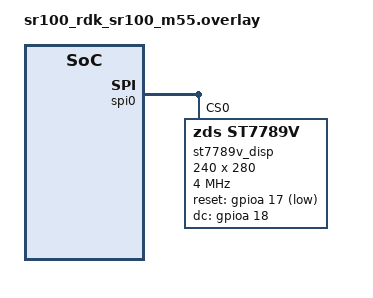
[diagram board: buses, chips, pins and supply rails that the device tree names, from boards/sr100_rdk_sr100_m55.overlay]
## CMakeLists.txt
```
cmake_minimum_required(VERSION 3.20.0)

# The custom "zds,st7789v" devicetree binding lives under this app's own
# dts/bindings/ -- DTS_ROOT must be extended BEFORE find_package(Zephyr...)
# runs, or the devicetree compiler won't find the binding and the build
# fails with "'zds,st7789v' compatible not found". Ported unchanged from
# jyounnim/zephyr_display-sr110's Lab 06 (06_TFT_ST7789V3), which
# hardware-verified this exact binding/driver approach on this board.
list(APPEND DTS_ROOT ${CMAKE_CURRENT_SOURCE_DIR})

find_package(Zephyr REQUIRED HINTS $ENV{ZEPHYR_BASE})
project(lab11_tft_sensor_display_host)

target_sources(app PRIVATE src/main.c)
target_include_directories(app PRIVATE include)
```

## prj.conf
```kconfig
CONFIG_MBOX=y
CONFIG_SPI=y
CONFIG_GPIO=y
# No CONFIG_DISPLAY / CONFIG_CHARACTER_FRAMEBUFFER / CONFIG_ST7789V here --
# this lab talks to the panel directly with raw spi_write_dt() calls (see
# src/main.c and the "zds,st7789v" custom binding), not Zephyr's in-tree
# Display/CFB subsystem. This also sidesteps the in-tree st7789v driver's
# devicetree "mipi-mode" property requirement entirely.

# st7789_fill_rect() keeps a one-row (240px * 2 bytes/px = 480 byte) stack
# buffer rather than a full-screen framebuffer; bump the main stack a bit
# to keep headroom alongside that plus the smaller per-character buffer in
# st7789_draw_char() and this lab's own mbox worker thread.
CONFIG_MAIN_STACK_SIZE=4096

# ns16550_uart1 (M55's only UART / console) is disabled in the devicetree
# overlay because its pins are reused for SPI0. The board defconfig's
# default UART_CONSOLE=y then fails its SERIAL_HAS_DRIVER dependency and
# aborts the Kconfig step, so it must be turned off explicitly here.
# (Explicitly setting CONFIG_SERIAL=n is NOT the fix -- this SoC's Kconfig
# unconditionally y-selects SERIAL_SUPPORT_ASYNC from SOC_SR100_M55,
# which then conflicts with SERIAL=n and aborts the build a different way.
# Leave CONFIG_SERIAL at its default; only the console symbols need
# turning off.)
CONFIG_UART_CONSOLE=n
CONFIG_CONSOLE=n
CONFIG_LOG=y
CONFIG_LOG_DEFAULT_LEVEL=3
CONFIG_PRINTK=y
```

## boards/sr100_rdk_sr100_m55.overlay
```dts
#include <zephyr/dt-bindings/gpio/gpio.h>

/* ipc0 shared-memory-size must match the M4 overlay in remote/boards/ exactly. */
&ipc0 {
	shared-memory-size = <0x400>;
};

/*
 * M4 and M55 physically share the same I2C1 bus (SCL/SDA pins) --
 * i2c1_ms_scl_b / i2c1_ms_sda_b are identical in both dts files. M4 is
 * the one driving the accelerometer in this lab, so i2c1 is disabled on
 * the M55 side to avoid a bus-init conflict at boot (same pattern applied
 * in every lab since Lab 01).
 */
&i2c1 {
	status = "disabled";
};

&gpio_exp0 {
	status = "disabled";
};

&ov02c10 {
	status = "disabled";
};

/*
 * ST7789V3 1.69" 240x280 color TFT on M55's SPI0.
 *
 * This is ported directly from `jyounnim/zephyr_display-sr110`'s Lab 06
 * (`06_TFT_ST7789V3`), which was already brought up and hardware-verified
 * standalone on this exact board -- see that lab's README/troubleshooting
 * doc for the full bring-up story. The devicetree side here (custom
 * "zds,st7789v" binding, pins, SPI frequency) is copied unchanged; only
 * the console handling differs (see the ns16550_uart1 note below), since
 * that lab is M55-only and this one runs M4 alongside it.
 *
 * NO Zephyr in-tree display driver is used -- see
 * lab/dts/bindings/display/zds,st7789v.yaml and src/main.c, which talk to
 * the panel with raw spi_write_dt() calls. This sidesteps the in-tree
 * "sitronix,st7789v" driver's newer required "mipi-mode" devicetree
 * property entirely (which this Zephyr version's binding demands but
 * earlier revisions of this overlay didn't have set, causing a
 * build failure).
 *
 * Write-only module (no MISO), but spi_mstr_miso is still routed in
 * pinctrl-0 for consistency with the confirmed-working zephyr_display-sr110
 * overlay. Native hardware CS (spi_mstr_cs pinctrl, no cs-gpios).
 *
 * IMPORTANT hardware conflict, confirmed from the schematic (J25 header):
 *   GPIO23 = SPI_MSTR_MOSI / UART1_TX  <-- M55's own console TX pin
 *   GPIO24 = SPI_MSTR_MISO / UART1_RX  <-- M55's own console RX pin
 * SPI0's MOSI/MISO pins are physically the same pads as M55's UART1
 * (ns16550_uart1, M55's console). Enabling SPI0 here therefore takes over
 * the console pins. The standalone zephyr_display-sr110 lab reroutes its
 * console to UART0's alternate pin group (uart0_tx_c/rx_c, GPIO44/45)
 * instead -- but in THIS curriculum M4 already owns UART0 as its own
 * console (see 00_course_overview), so M55 can't also claim it here.
 * ns16550_uart1 is disabled below and left with no working console at
 * all -- any status info M55 needs is rendered on the TFT instead (see
 * src/main.c).
 *
 * ⚠️ LEVEL SHIFTER REQUIRED: SR110's SPI0/GPIO pads are a 1.8V I/O
 * domain (confirmed against the SR110 RDK schematic, SC950-C01116-01
 * RevE). This ST7789V3 module's IOVCC is 3.3V (VIH = 0.7 x IOVCC =
 * 2.31V, which 1.8V doesn't reach) -- driving it directly produced a
 * persistent black screen with no SPI-level error in the original
 * bring-up. A bidirectional level shifter (confirmed working: TXS0108E)
 * on all five signals -- SCLK, MOSI, CS, RST, DC -- is required. Keep
 * spi-max-frequency conservative (4MHz here) if using a TXS0108E, since
 * it's an auto-direction-sensing shifter not really meant for a fast
 * continuously-toggling signal like SCLK; a dedicated unidirectional
 * buffer (74LVC245, 74AHCT125, etc.) is the more correct choice.
 */
&ns16550_uart1 {
	status = "disabled";
};

&spi0 {
	#address-cells = <1>;
	#size-cells = <0>;
	status = "okay";
	pinctrl-0 = <&spi_mstr_mosi &spi_mstr_miso &spi_mstr_clk &spi_mstr_cs>;
	pinctrl-names = "default";

	st7789v_disp: st7789v@0 {
		compatible = "zds,st7789v";
		reg = <0>;
		spi-max-frequency = <4000000>;
		reset-gpios = <&gpioa 17 GPIO_ACTIVE_LOW>;  /* SoC GPIO17, J24 pin 3 - through level shifter */
		dc-gpios = <&gpioa 18 GPIO_ACTIVE_HIGH>;    /* SoC GPIO18, J24 pin 4 - through level shifter */
		width = <240>;
		height = <280>;
		x-offset = <0>;
		y-offset = <20>;
	};
};
```

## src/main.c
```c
/*
 * Lab 11: TFT Sensor Display (HOST, M55)
 * Receives the X/Y/Z accelerometer values M4 samples from the onboard
 * MC3419 and renders them as text on an ST7789V3 1.69" 240x280 SPI TFT.
 *
 * The SPI0/driver/panel-geometry portion of this file is ported
 * unchanged from jyounnim/zephyr_display-sr110's Lab 06
 * (06_TFT_ST7789V3), which was already hardware-verified standalone on
 * this exact board (level shifter requirement, 8-byte SPI0 FIFO chunking,
 * full init sequence, panel RAM offset -- see that lab's doc/
 * troubleshooting notes for the full bring-up story). It talks to the
 * panel directly with raw spi_write_dt() calls rather than Zephyr's
 * in-tree Display/CFB subsystem -- see the "zds,st7789v" custom binding
 * in dts/bindings/display/.
 *
 * What's new in THIS file (on top of that confirmed base): the mbox
 * ISR -> k_msgq -> worker-thread pattern used by every lab in this IPC
 * curriculum (Display_Task is the worker), and a small font-table
 * extension (digits, ':', '-', and the specific uppercase letters used
 * below) so accelerometer values can be printed -- the original lab's
 * font5x7 table only covered the characters needed for "Hello World!".
 *
 * M55 drives this display over SPI0, which physically shares pins with
 * M55's own console UART (see the M55 overlay for the full explanation).
 * That means this build can't rely on its serial console for status info
 * -- the TFT itself is the only debug/status output available once this
 * overlay is flashed, so this main() puts a small status line (rx count)
 * on screen in addition to the sensor values.
 */

#include <zephyr/kernel.h>
#include <zephyr/device.h>
#include <zephyr/devicetree.h>
#include <zephyr/drivers/spi.h>
#include <zephyr/drivers/gpio.h>
#include <zephyr/drivers/mbox.h>
#include <zephyr/logging/log.h>
#include <zephyr/sys/util.h>
#include <stdbool.h>
#include <stdio.h>
#include <string.h>
#include "ipc_common.h"

LOG_MODULE_REGISTER(lab11_host, CONFIG_LOG_DEFAULT_LEVEL);

#define TASK_STACK_SIZE 2048
#define TASK_PRIORITY   4

K_THREAD_STACK_DEFINE(task_stack, TASK_STACK_SIZE);
static struct k_thread task_data;
K_MSGQ_DEFINE(accel_msgq, sizeof(struct ipc11_accel_msg), 4, 4);

#define DISP_NODE DT_NODELABEL(st7789v_disp)

#define PANEL_WIDTH   DT_PROP(DISP_NODE, width)
#define PANEL_HEIGHT  DT_PROP(DISP_NODE, height)
#define X_OFFSET      DT_PROP(DISP_NODE, x_offset)
#define Y_OFFSET      DT_PROP(DISP_NODE, y_offset)

/* ST7789 command set (only what this lab needs). */
#define ST7789_SWRESET   0x01
#define ST7789_SLPOUT    0x11
#define ST7789_COLMOD    0x3A
#define ST7789_MADCTL    0x36
#define ST7789_INVON     0x21
#define ST7789_NORON     0x13
#define ST7789_DISPON    0x29
#define ST7789_CASET     0x2A
#define ST7789_RASET     0x2B
#define ST7789_RAMWR     0x2C
#define ST7789_PORCTRL   0xB2
#define ST7789_GCTRL     0xB7
#define ST7789_VCOMS     0xBB
#define ST7789_LCMCTRL   0xC0
#define ST7789_VDVVRHEN  0xC2
#define ST7789_VRHS      0xC3
#define ST7789_VDVS      0xC4
#define ST7789_FRCTRL2   0xC6
#define ST7789_PWCTRL1   0xD0
#define ST7789_PVGAMCTRL 0xE0
#define ST7789_NVGAMCTRL 0xE1

/* RGB565 colors. */
#define COLOR_BLACK   0x0000
#define COLOR_WHITE   0xFFFF
#define COLOR_RED     0xF800
#define COLOR_GREEN   0x07E0
#define COLOR_YELLOW  0xFFE0

static const struct spi_dt_spec spi_spec =
	SPI_DT_SPEC_GET(DISP_NODE, SPI_WORD_SET(8) | SPI_TRANSFER_MSB, 0);
static const struct gpio_dt_spec reset_spec = GPIO_DT_SPEC_GET(DISP_NODE, reset_gpios);
static const struct gpio_dt_spec dc_spec = GPIO_DT_SPEC_GET(DISP_NODE, dc_gpios);

/*
 * 5x7 font table. The entries marked "(from Lab 06)" are copied verbatim
 * from the confirmed zephyr_display-sr110 source. Everything else (digits,
 * ':', '-', and the extra uppercase letters used in this lab's on-screen
 * labels) is a NEW addition, taken from the classic public-domain 5x7
 * "glcdfont" table used throughout the Arduino/Adafruit-GFX ecosystem --
 * it has not been individually re-verified against this specific panel,
 * so if a character looks wrong on real hardware, that's the first place
 * to check.
 */
struct glyph {
	char ch;
	uint8_t cols[5];
};

static const struct glyph font5x7[] = {
	{' ', {0x00, 0x00, 0x00, 0x00, 0x00}}, /* (from Lab 06) */
	{'-', {0x08, 0x08, 0x08, 0x08, 0x08}},
	{':', {0x00, 0x36, 0x36, 0x00, 0x00}},
	{'0', {0x3E, 0x51, 0x49, 0x45, 0x3E}},
	{'1', {0x00, 0x42, 0x7F, 0x40, 0x00}},
	{'2', {0x62, 0x51, 0x49, 0x49, 0x46}},
	{'3', {0x22, 0x41, 0x49, 0x49, 0x36}},
	{'4', {0x18, 0x14, 0x12, 0x7F, 0x10}},
	{'5', {0x27, 0x45, 0x45, 0x45, 0x39}},
	{'6', {0x3C, 0x4A, 0x49, 0x49, 0x30}},
	{'7', {0x01, 0x71, 0x09, 0x05, 0x03}},
	{'8', {0x36, 0x49, 0x49, 0x49, 0x36}},
	{'9', {0x06, 0x49, 0x49, 0x29, 0x1E}},
	{'A', {0x7E, 0x11, 0x11, 0x11, 0x7E}},
	{'B', {0x7F, 0x49, 0x49, 0x49, 0x36}},
	{'C', {0x3E, 0x41, 0x41, 0x41, 0x22}},
	{'E', {0x7F, 0x49, 0x49, 0x49, 0x41}},
	{'L', {0x7F, 0x40, 0x40, 0x40, 0x40}},
	{'Q', {0x3E, 0x41, 0x51, 0x21, 0x5E}},
	{'R', {0x7F, 0x09, 0x19, 0x29, 0x46}},
	{'S', {0x46, 0x49, 0x49, 0x49, 0x31}},
	{'V', {0x1F, 0x20, 0x40, 0x20, 0x1F}},
	{'X', {0x63, 0x14, 0x08, 0x14, 0x63}},
	{'Y', {0x07, 0x08, 0x70, 0x08, 0x07}},
	{'Z', {0x61, 0x51, 0x49, 0x45, 0x43}},
};

static const uint8_t *glyph_lookup(char c)
{
	static const uint8_t blank[5] = {0x00, 0x00, 0x00, 0x00, 0x00};

	for (size_t i = 0; i < ARRAY_SIZE(font5x7); i++) {
		if (font5x7[i].ch == c) {
			return font5x7[i].cols;
		}
	}
	return blank;
}

/* SR110: SPI0's hardware FIFO is only 8 bytes deep (fifo-depth = <8>; in
 * sr100_m55.dtsi). A single spi_write_dt() call needing a mid-transfer
 * TX-FIFO-refill interrupt to complete (any single call over 8 bytes)
 * reproducibly times out (-ETIMEDOUT) instead of that refill interrupt
 * ever firing -- confirmed in Lab 06's bring-up. Every send below is
 * chunked to <= 8 bytes to avoid ever needing that refill.
 */
#define ST7789_CHUNK_BYTES 8

static int st7789_send(int dc_value, const uint8_t *data, size_t len)
{
	int ret;

	gpio_pin_set_dt(&dc_spec, dc_value);

	while (len) {
		size_t chunk = MIN(len, ST7789_CHUNK_BYTES);
		struct spi_buf buf = { .buf = (void *)data, .len = chunk };
		struct spi_buf_set set = { .buffers = &buf, .count = 1 };

		ret = spi_write_dt(&spi_spec, &set);
		if (ret) {
			LOG_ERR("spi_write_dt(dc=%d, len=%zu) failed, ret=%d", dc_value, chunk, ret);
			return ret;
		}
		data += chunk;
		len -= chunk;
	}

	return 0;
}

static int st7789_write_cmd(uint8_t cmd)
{
	return st7789_send(0, &cmd, 1);
}

static int st7789_write_data(const uint8_t *data, size_t len)
{
	return st7789_send(1, data, len);
}

static int st7789_reset(void)
{
	int ret = gpio_pin_configure_dt(&reset_spec, GPIO_OUTPUT_INACTIVE);

	if (ret) {
		return ret;
	}
	k_sleep(K_MSEC(10));
	gpio_pin_set_dt(&reset_spec, 1); /* assert reset */
	k_sleep(K_MSEC(10));
	gpio_pin_set_dt(&reset_spec, 0); /* release reset */
	k_sleep(K_MSEC(150));            /* datasheet: allow up to ~120ms to recover */

	return 0;
}

/* Full power/frame-rate/gamma init sequence (not the bare MIPI-DCS
 * minimum) -- confirmed necessary on this exact panel/SPI0 setup in
 * Lab 06's bring-up (the bare minimum completed with no SPI error but
 * never produced a visible image). Cross-checked there against ESPHome's
 * st7789v component, Bodmer's TFT_eSPI library, and Adafruit's Raspberry
 * Pi fbtft driver, which all agree on this sequence/these values.
 */
struct st7789_init_cmd {
	uint8_t cmd;
	uint8_t num_args;
	uint8_t args[16];
	uint16_t delay_ms;
};

static const struct st7789_init_cmd init_seq[] = {
	{ ST7789_SWRESET,   0, {0}, 150 },
	{ ST7789_SLPOUT,    0, {0}, 255 },
	{ ST7789_COLMOD,    1, {0x55}, 10 },
	{ ST7789_PORCTRL,   5, {0x0C, 0x0C, 0x00, 0x33, 0x33}, 0 },
	{ ST7789_GCTRL,     1, {0x35}, 0 },
	{ ST7789_VCOMS,     1, {0x28}, 0 },
	{ ST7789_LCMCTRL,   1, {0x0C}, 0 },
	{ ST7789_VDVVRHEN,  2, {0x01, 0xFF}, 0 },
	{ ST7789_VRHS,      1, {0x10}, 0 },
	{ ST7789_VDVS,      1, {0x20}, 0 },
	{ ST7789_FRCTRL2,   1, {0x0F}, 0 },
	{ ST7789_PWCTRL1,   2, {0xA4, 0xA1}, 0 },
	{ ST7789_MADCTL,    1, {0x00}, 0 },
	{ ST7789_INVON,     0, {0}, 10 },
	{ ST7789_PVGAMCTRL, 14, {0xD0, 0x00, 0x02, 0x07, 0x0A, 0x28, 0x32, 0x44,
				 0x42, 0x06, 0x0E, 0x12, 0x14, 0x17}, 0 },
	{ ST7789_NVGAMCTRL, 14, {0xD0, 0x00, 0x02, 0x07, 0x05, 0x25, 0x2D, 0x44,
				 0x45, 0x10, 0x0E, 0x12, 0x13, 0x17}, 0 },
	{ ST7789_NORON,     0, {0}, 10 },
	{ ST7789_DISPON,    0, {0}, 100 },
};

static int st7789_init(void)
{
	int ret;

	for (size_t i = 0; i < ARRAY_SIZE(init_seq); i++) {
		ret = st7789_write_cmd(init_seq[i].cmd);
		if (ret) return ret;

		if (init_seq[i].num_args) {
			ret = st7789_write_data(init_seq[i].args, init_seq[i].num_args);
			if (ret) return ret;
		}
		if (init_seq[i].delay_ms) {
			k_sleep(K_MSEC(init_seq[i].delay_ms));
		}
	}

	return 0;
}

static int st7789_set_addr_window(uint16_t x0, uint16_t y0, uint16_t x1, uint16_t y1)
{
	uint16_t xs = x0 + X_OFFSET, xe = x1 + X_OFFSET;
	uint16_t ys = y0 + Y_OFFSET, ye = y1 + Y_OFFSET;
	uint8_t caset[4] = { xs >> 8, xs & 0xFF, xe >> 8, xe & 0xFF };
	uint8_t raset[4] = { ys >> 8, ys & 0xFF, ye >> 8, ye & 0xFF };
	int ret;

	ret = st7789_write_cmd(ST7789_CASET);
	if (ret) return ret;
	ret = st7789_write_data(caset, sizeof(caset));
	if (ret) return ret;

	ret = st7789_write_cmd(ST7789_RASET);
	if (ret) return ret;
	ret = st7789_write_data(raset, sizeof(raset));
	if (ret) return ret;

	return st7789_write_cmd(ST7789_RAMWR);
}

static int st7789_fill_rect(uint16_t x, uint16_t y, uint16_t w, uint16_t h, uint16_t color)
{
	uint8_t row[PANEL_WIDTH * 2];
	int ret;

	ret = st7789_set_addr_window(x, y, x + w - 1, y + h - 1);
	if (ret) return ret;

	for (uint16_t i = 0; i < w; i++) {
		row[i * 2] = color >> 8;
		row[i * 2 + 1] = color & 0xFF;
	}

	for (uint16_t line = 0; line < h; line++) {
		ret = st7789_write_data(row, (size_t)w * 2);
		if (ret) return ret;
	}

	return 0;
}

static int st7789_draw_char(uint16_t x, uint16_t y, char c, uint16_t fg, uint16_t bg, uint8_t scale)
{
	const uint8_t *glyph = glyph_lookup(c);
	uint8_t row[5 * 8 * 2]; /* generous fixed max: 5 cols * up to 8x scale * 2 bytes */
	int ret;

	ret = st7789_set_addr_window(x, y, x + 5 * scale - 1, y + 7 * scale - 1);
	if (ret) return ret;

	for (uint8_t srow = 0; srow < 7; srow++) {
		for (uint8_t scol = 0; scol < 5; scol++) {
			bool on = (glyph[scol] >> srow) & 0x1;
			uint16_t color = on ? fg : bg;

			for (uint8_t sx = 0; sx < scale; sx++) {
				size_t idx = (scol * scale + sx) * 2;

				row[idx] = color >> 8;
				row[idx + 1] = color & 0xFF;
			}
		}
		for (uint8_t sy = 0; sy < scale; sy++) {
			ret = st7789_write_data(row, (size_t)5 * scale * 2);
			if (ret) return ret;
		}
	}

	return 0;
}

static int st7789_draw_string(uint16_t x, uint16_t y, const char *str, uint16_t fg, uint16_t bg, uint8_t scale)
{
	int ret;

	while (*str) {
		ret = st7789_draw_char(x, y, *str++, fg, bg, scale);
		if (ret) return ret;
		x += 6 * scale; /* 5 glyph columns + 1 blank column */
	}
	return 0;
}

/* Prints one line, padded with spaces to `width` characters, so a shorter
 * new value fully overwrites a longer old one without needing a full
 * fill_rect() clear first (cheaper -- avoids re-sending the whole row). */
static void draw_line(uint16_t y, const char *text, uint16_t fg)
{
	char padded[24];
	size_t len = strlen(text);

	if (len >= sizeof(padded)) {
		len = sizeof(padded) - 1;
	}
	memcpy(padded, text, len);
	for (size_t i = len; i < sizeof(padded) - 1; i++) {
		padded[i] = ' ';
	}
	padded[sizeof(padded) - 1] = '\0';

	st7789_draw_string(10, y, padded, fg, COLOR_BLACK, 2);
}

static void rx_cb(const struct device *dev, mbox_channel_id_t channel_id,
		   void *user_data, struct mbox_msg *data)
{
	struct ipc11_accel_msg msg;

	ARG_UNUSED(dev);
	ARG_UNUSED(channel_id);
	ARG_UNUSED(user_data);

	if (data->size < sizeof(msg)) {
		return;
	}
	memcpy(&msg, data->data, sizeof(msg));
	/* Driving the TFT (raw spi_write_dt() calls) blocks, so this ISR-safe
	 * callback only enqueues the message; Display_Task does the real work
	 * (same ISR -> k_msgq -> worker-thread pattern as every other lab). */
	k_msgq_put(&accel_msgq, &msg, K_NO_WAIT);
}

static void task_entry(void *p1, void *p2, void *p3)
{
	struct ipc11_accel_msg msg;
	char line[24];
	uint32_t rx_count = 0;

	LOG_INF("[Display_Task] started");

	if (!spi_is_ready_dt(&spi_spec)) {
		LOG_ERR("SPI0 device not ready - check devicetree status/overlay");
		return;
	}
	if (!gpio_is_ready_dt(&reset_spec) || !gpio_is_ready_dt(&dc_spec)) {
		LOG_ERR("RST/DC GPIO controller not ready");
		return;
	}
	if (gpio_pin_configure_dt(&dc_spec, GPIO_OUTPUT_INACTIVE)) {
		LOG_ERR("DC GPIO configure failed");
		return;
	}
	if (st7789_reset()) {
		LOG_ERR("Panel reset failed - check RST wiring");
		return;
	}
	if (st7789_init()) {
		LOG_ERR("ST7789 init failed (SPI write error) - check wiring / level shifter");
		return;
	}

	st7789_fill_rect(0, 0, PANEL_WIDTH, PANEL_HEIGHT, COLOR_BLACK);
	st7789_draw_string(10, 10, "LAB11 ACCEL", COLOR_YELLOW, COLOR_BLACK, 2);

	while (1) {
		if (k_msgq_get(&accel_msgq, &msg, K_FOREVER) != 0) {
			continue;
		}
		rx_count++;

		snprintf(line, sizeof(line), "SEQ:%u RX:%u", msg.seq, rx_count);
		draw_line(40, line, COLOR_WHITE);

		snprintf(line, sizeof(line), "X:%d", msg.x);
		draw_line(70, line, COLOR_RED);

		snprintf(line, sizeof(line), "Y:%d", msg.y);
		draw_line(100, line, COLOR_GREEN);

		snprintf(line, sizeof(line), "Z:%d", msg.z);
		draw_line(130, line, COLOR_YELLOW);

		LOG_INF("[Display_Task] seq=%u x=%d y=%d z=%d", msg.seq, msg.x, msg.y, msg.z);
	}
}

int main(void)
{
	struct mbox_dt_spec rx_channel;

	LOG_INF("Lab11 TFT Sensor Display HOST - %s", CONFIG_BOARD_TARGET);

	rx_channel = (struct mbox_dt_spec)MBOX_DT_SPEC_GET(DT_PATH(mbox_consumer), rx);

	if (mbox_register_callback_dt(&rx_channel, rx_cb, NULL)) {
		LOG_ERR("mbox_register_callback() failed");
		return -EIO;
	}
	if (mbox_set_enabled_dt(&rx_channel, 1)) {
		LOG_ERR("mbox_set_enabled() failed");
		return -EIO;
	}

	k_thread_create(&task_data, task_stack, K_THREAD_STACK_SIZEOF(task_stack),
			task_entry, NULL, NULL, NULL, TASK_PRIORITY, 0, K_NO_WAIT);
	k_thread_name_set(&task_data, "Display_Task");

	while (1) {
		k_sleep(K_FOREVER);
	}
	return 0;
}
```

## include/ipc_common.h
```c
#ifndef IPC_COMMON_H_
#define IPC_COMMON_H_

#include <zephyr/kernel.h>

/* M4 -> M55: accelerometer (X/Y/Z, milli-g) sampled from the onboard MC3419.
 * Reuses the exact same reading pipeline verified in Lab 09 -- this lab
 * changes what M55 *does* with the values (renders them on a TFT instead
 * of just logging them), not how M4 samples them. */
struct ipc11_accel_msg {
	int32_t x;
	int32_t y;
	int32_t z;
	uint32_t seq;
};

#endif /* IPC_COMMON_H_ */
```
